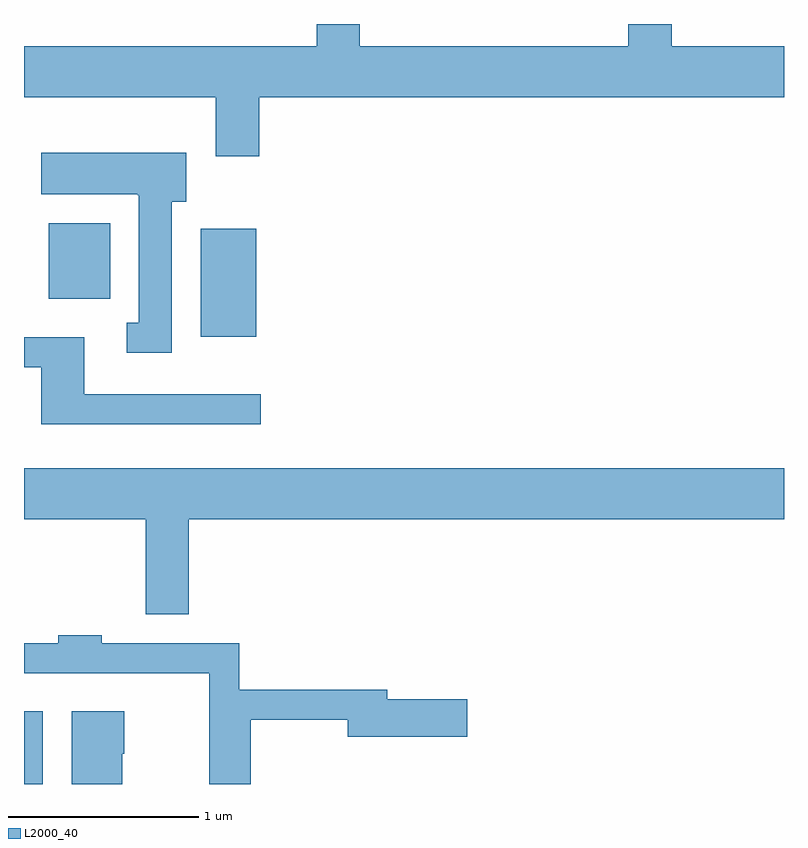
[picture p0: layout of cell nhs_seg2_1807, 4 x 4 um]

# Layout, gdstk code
import gdstk
lib = gdstk.Library(unit=1e-6, precision=1e-09)
def R(c, l, rs):  # rectangles x0, y0, x1, y1
    for r in rs: c.add(gdstk.rectangle(r[:2], r[2:], *l))
def P(c, l, *ps):  # polygons
    for p in ps: c.add(gdstk.Polygon(p, *l))
L2000_40 = (2000, 40)

nhs_seg2_1807 = lib.new_cell('nhs_seg2_1807')
R(nhs_seg2_1807, L2000_40, [(237.611,1055.802,237.709,1056.184), (238.541,1058.156,238.834,1058.724), (237.741,1058.356,238.064,1058.754)])
P(nhs_seg2_1807, L2000_40, [(238.849,1059.416),(241.611,1059.416),(241.611,1059.684),(241.019,1059.684),(241.019,1059.802),(240.791,1059.802),(240.791,1059.684),(239.379,1059.684),(239.379,1059.802),(239.151,1059.802),(239.151,1059.684),(237.611,1059.684),(237.611,1059.416),(238.621,1059.416),(238.621,1059.106),(238.849,1059.106)],
  [(238.389,1058.866),(238.464,1058.866),(238.464,1059.124),(237.701,1059.124),(237.701,1058.906),(238.21,1058.906),(238.21,1058.9),(238.216,1058.9),(238.216,1058.229),(238.153,1058.229),(238.153,1058.071),(238.389,1058.071)],
  [(238.858,1057.854),(237.929,1057.854),(237.929,1058.154),(237.611,1058.154),(237.611,1057.996),(237.701,1057.996),(237.701,1057.696),(238.858,1057.696)],
  [(238.479,1057.196),(241.611,1057.196),(241.611,1057.464),(237.611,1057.464),(237.611,1057.196),(238.251,1057.196),(238.251,1056.696),(238.479,1056.696)],
  [(238.804,1056.141),(239.316,1056.141),(239.316,1056.051),(239.944,1056.051),(239.944,1056.249),(239.524,1056.249),(239.524,1056.299),(238.744,1056.299),(238.744,1056.544),(238.019,1056.544),(238.019,1056.584),(237.791,1056.584),(237.791,1056.544),(237.611,1056.544),(237.611,1056.386),(238.586,1056.386),(238.586,1055.802),(238.804,1055.802)],
  [(238.129,1055.96),(238.139,1055.96),(238.139,1056.184),(237.861,1056.184),(237.861,1055.802),(238.129,1055.802)])

lib.write_gds('nhs_seg2_1807.gds')
